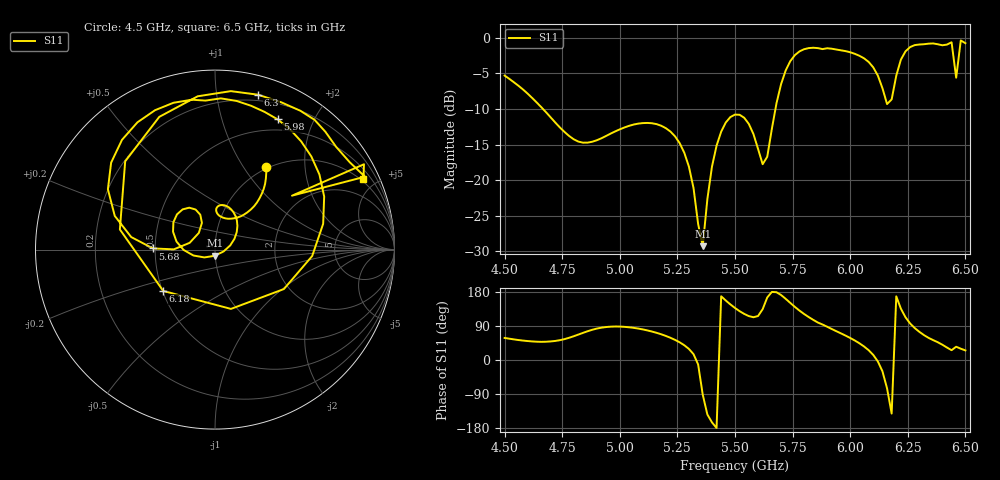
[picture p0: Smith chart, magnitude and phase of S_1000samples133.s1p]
! TOUCHSTONE file generated by CST MICROWAVE STUDIO
! Date and time: Thu Oct 27 02:51:09 2022
! Project name: L.cst
! Parameters = {Di=1.27; Epsilon_r=1.56; InnerDiameter=1.27; Length=2; Lf=10; Lg=60; OuterConductorThickness=0.2921; OuterDiameter=3.6; Wf=3; Wp=41.2; de=1.5; df=6.8; g=0.8; gx=1.5434; gy=2.62053; h=2.34; hf=1.524; px=13.8175; py=9.30444; w=9.7; wx=12.2741; wy=6.68391}
! Header version: 2018
! Port assignment regex: !\s*Touchstone port\s*([0-9]+)\s*=\s*(CST MWS port|CST DS port)\s*([0-9]+|Zmin|Zmax)\s*\(\"(.*)\"\)(\s*mode\s*([0-9]+))?.*
! Touchstone port assignment:
! Touchstone port 1 = CST MWS port 1 ("")
# GHz S DB R 50
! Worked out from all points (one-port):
!   101 points, 4.5 GHz to 6.5 GHz, reference 50 ohm
!   lowest |S11| = -29.3 dB at 5.36 GHz (marker M1), VSWR 1.07, Z = 49.8 - j3.43 ohm
!   |S11| at or under -10 dB: 4.666 GHz to 5.676 GHz (1.009 GHz wide, 19.5 % of centre)
!   S11 on the Smith chart (normalised r, x): 4.5 GHz: 0.98, +1.28; 5.68 GHz: 0.49, +0.01; 5.98 GHz: 0.37, +1.53; 6.18 GHz: 0.50, -0.27; 6.3 GHz: 0.15, +1.31; 6.5 GHz: 0.89, +4.28
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4.5  -5.32 58.2
4.76  -13.23 55.1
5  -12.87 88.2
5.16  -12.14 71.6
5.26  -14.81 46.6
5.3  -18.10 29.1
5.36  -29.26 -91.6
5.42  -15.16 -179.3
5.5  -10.79 137.3
5.56  -12.10 115.9
5.62  -17.76 134.0
5.68  -9.21 178.9
5.76  -2.44 140.1
5.84  -1.41 105.8
5.98  -1.88 64.3
6  -2.04 58.2
6.08  -3.40 25.9
6.12  -5.31 -3.8
6.16  -9.31 -74.9
6.18  -8.66 -141.4
6.2  -5.32 168.0
6.22  -3.08 135.5
6.26  -1.31 96.4
6.3  -0.96 74.4
6.44  -0.64 25.9
6.46  -5.62 35.0
6.48  -0.39 29.8
6.5  -0.77 25.3
